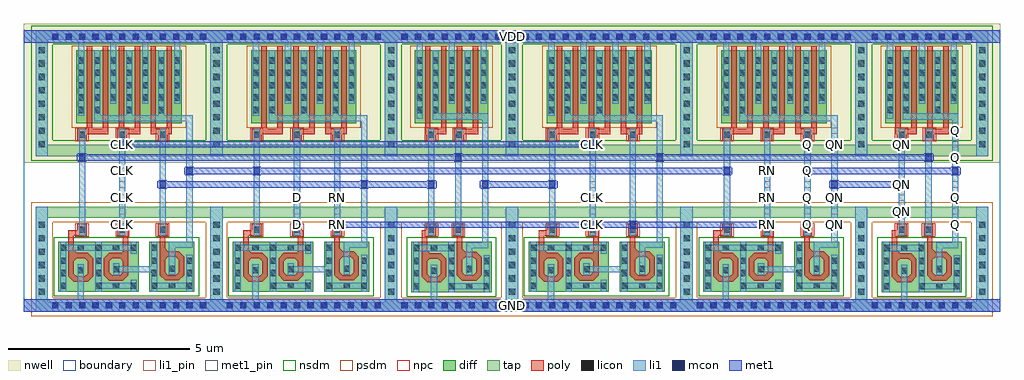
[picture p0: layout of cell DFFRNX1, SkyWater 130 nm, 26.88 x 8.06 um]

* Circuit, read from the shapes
.subckt DFFRNX1 CLK D GND Q QN RN VDD
XM1 n1 n2 GND GND sky130_fd_pr__nfet_01v8 w=2.6 l=0.1482
XM2 n1 CLK n3 GND sky130_fd_pr__nfet_01v8 w=2.52 l=0.1457
XM3 n3 n4 n5 GND sky130_fd_pr__nfet_01v8 w=2.56 l=0.1461
XM4 n6 n5 GND GND sky130_fd_pr__nfet_01v8 w=2.6 l=0.1484
XM5 n6 D n7 GND sky130_fd_pr__nfet_01v8 w=2.52 l=0.1458
XM6 n7 RN n4 GND sky130_fd_pr__nfet_01v8 w=2.56 l=0.1461
XM7 n8 n4 GND GND sky130_fd_pr__nfet_01v8 w=2.6 l=0.146
XM8 n8 n2 n9 GND sky130_fd_pr__nfet_01v8 w=2.56 l=0.1472
XM9 n10 n9 GND GND sky130_fd_pr__nfet_01v8 w=2.6 l=0.1489
XM10 n10 CLK n11 GND sky130_fd_pr__nfet_01v8 w=2.52 l=0.1458
XM11 n11 RN n2 GND sky130_fd_pr__nfet_01v8 w=2.56 l=0.1463
XM12 n12 n5 GND GND sky130_fd_pr__nfet_01v8 w=2.6 l=0.1489
XM13 n12 RN n13 GND sky130_fd_pr__nfet_01v8 w=2.52 l=0.1458
XM14 n13 Q QN GND sky130_fd_pr__nfet_01v8 w=2.56 l=0.1461
XM15 n14 QN GND GND sky130_fd_pr__nfet_01v8 w=2.6 l=0.146
XM16 n14 n2 Q GND sky130_fd_pr__nfet_01v8 w=2.56 l=0.1471
XM17 n5 n2 VDD VDD sky130_fd_pr__pfet_01v8 w=2 l=0.15 m=2
XM18 n5 CLK VDD VDD sky130_fd_pr__pfet_01v8 w=2 l=0.15 m=2
XM19 n5 n4 VDD VDD sky130_fd_pr__pfet_01v8 w=2 l=0.15 m=2
XM20 n4 n5 VDD VDD sky130_fd_pr__pfet_01v8 w=2 l=0.15 m=2
XM21 n4 D VDD VDD sky130_fd_pr__pfet_01v8 w=2 l=0.15 m=2
XM22 n4 RN VDD VDD sky130_fd_pr__pfet_01v8 w=2 l=0.15 m=2
XM23 n9 n4 VDD VDD sky130_fd_pr__pfet_01v8 w=2 l=0.15 m=2
XM24 n9 n2 VDD VDD sky130_fd_pr__pfet_01v8 w=2 l=0.15 m=2
XM25 n2 n9 VDD VDD sky130_fd_pr__pfet_01v8 w=2 l=0.15 m=2
XM26 n2 CLK VDD VDD sky130_fd_pr__pfet_01v8 w=2 l=0.15 m=2
XM27 n2 RN VDD VDD sky130_fd_pr__pfet_01v8 w=2 l=0.15 m=2
XM28 QN n5 VDD VDD sky130_fd_pr__pfet_01v8 w=2 l=0.15 m=2
XM29 QN RN VDD VDD sky130_fd_pr__pfet_01v8 w=2 l=0.15 m=2
XM30 QN Q VDD VDD sky130_fd_pr__pfet_01v8 w=2 l=0.15 m=2
XM31 Q QN VDD VDD sky130_fd_pr__pfet_01v8 w=2 l=0.15 m=2
XM32 Q n2 VDD VDD sky130_fd_pr__pfet_01v8 w=2 l=0.15 m=2
.ends

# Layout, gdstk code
from math import pi, radians
import gdstk
lib = gdstk.Library(unit=1e-6, precision=1e-09)
def R(c, l, rs):  # rectangles x0, y0, x1, y1
    for r in rs: c.add(gdstk.rectangle(r[:2], r[2:], *l))
def A(c, l, x, y, w, h, nx, ny, dx, dy):  # array of equal rectangles
    R(c, l, [(x+i*dx, y+j*dy, x+i*dx+w, y+j*dy+h) for i in range(nx) for j in range(ny)])
def P(c, l, *ps):  # polygons
    for p in ps: c.add(gdstk.Polygon(p, *l))
nwell = (64, 20)
diff = (65, 20)
tap = (65, 44)
poly = (66, 20)
licon = (66, 44)
li1_pin = (67, 16)
li1 = (67, 20)
mcon = (67, 44)
met1_pin = (68, 16)
met1 = (68, 20)
nsdm = (93, 44)
psdm = (94, 20)
npc = (95, 20)
boundary = (235, 4)

li1_m1_contact = lib.new_cell('li1_M1_contact')
R(li1_m1_contact, li1, [(-0.085,-0.165,0.085,0.165)])
R(li1_m1_contact, mcon, [(-0.085,-0.085,0.085,0.085)])
R(li1_m1_contact, met1, [(-0.115,-0.115,0.115,-0.085), (-0.265,-0.085,0.145,0.085), (-0.115,0.085,0.115,0.115)])

diff_ring_side = lib.new_cell('diff_ring_side')
R(diff_ring_side, nwell, [(-0.435,3.93,0.435,7.75)])
R(diff_ring_side, tap, [(-0.17,-0.17,0.17,2.72), (-0.17,4.11,0.17,7.57)])
A(diff_ring_side, licon, -0.085, 0.285, 0.17, 0.17, 1, 6, 0, 0.37)
A(diff_ring_side, licon, -0.085, 4.355, 0.17, 0.17, 1, 8, 0, 0.37)
R(diff_ring_side, li1, [(-0.17,-0.17,0.17,2.72), (-0.17,4.11,0.17,7.57)])
R(diff_ring_side, met1, [(-0.17,-0.17,0.17,0.17), (-0.17,7.23,0.17,7.57)])
R(diff_ring_side, nsdm, [(-0.295,3.985,0.295,7.695)])
R(diff_ring_side, psdm, [(-0.295,-0.295,0.295,2.845)])

nmos_bottom = lib.new_cell('nmos_bottom')
R(nmos_bottom, diff, [(0,0,1.24,1.38)])
R(nmos_bottom, poly, [(0.43,0.27,0.81,0.42), (0.28,0.42,0.43,0.925), (0.81,0.42,0.96,0.925), (0.43,0.925,0.96,1.075), (0.81,1.075,0.96,1.51)])
P(nmos_bottom, poly, [(0.73,1.075),(0.81,1.075),(0.81,1.155)],
  [(0.28,0.925),(0.43,0.925),(0.43,1.075)],
  [(0.43,0.845),(0.43,0.925),(0.51,0.925)],
  [(0.73,0.925),(0.81,0.925),(0.81,0.845)],
  [(0.43,0.5),(0.43,0.42),(0.51,0.42)],
  [(0.73,0.42),(0.81,0.42),(0.81,0.5)],
  [(0.28,0.42),(0.43,0.42),(0.43,0.27)],
  [(0.81,0.27),(0.81,0.42),(0.96,0.42)])
A(nmos_bottom, licon, 0.05, 1.13, 0.17, 0.17, 3, 1, 0.485, 0)
R(nmos_bottom, licon, [(0.05,0.08,0.22,0.25), (1.02,0.08,1.19,0.25), (0.05,0.43,0.22,0.6), (1.02,0.43,1.19,0.6), (0.535,0.505,0.705,0.675), (0.05,0.77,0.22,0.94), (1.02,0.77,1.19,0.94)])
R(nmos_bottom, li1, [(0.05,0,0.22,1.13), (1.02,0,1.19,1.13), (0.535,0.425,0.705,0.755), (0.05,1.13,1.19,1.3), (0.05,1.3,0.22,1.38), (1.02,1.3,1.19,1.38)])
R(nmos_bottom, nsdm, [(-0.125,-0.125,1.365,1.505)])

pmos2 = lib.new_cell('pmos2')
R(pmos2, nwell, [(0.26,-2.18,1.76,0.18)])
R(pmos2, diff, [(0.44,-2,1.58,0)])
R(pmos2, poly, [(0.72,-2.305,1.31,-2.155), (0.72,-2.155,0.87,0.13), (1.16,-2.155,1.31,0.13)])
A(pmos2, licon, 0.49, -1.38, 0.17, 0.17, 3, 4, 0.44, 0.34)
R(pmos2, li1, [(0.49,-1.465,0.66,0.21), (0.93,-1.465,1.1,0), (1.37,-1.465,1.54,0.21)])
R(pmos2, psdm, [(0.315,-2.125,1.705,0.125)])

poly_li1_contact = lib.new_cell('poly_li1_contact')
R(poly_li1_contact, poly, [(-0.16,-0.14,0.17,0.13)])
R(poly_li1_contact, licon, [(-0.08,-0.09,0.09,0.08)])
R(poly_li1_contact, li1, [(-0.16,-0.09,0.17,0.08)])
R(poly_li1_contact, npc, [(-0.18,-0.19,0.19,0.18)])

nmos_side_left = lib.new_cell('nmos_side_left')
R(nmos_side_left, diff, [(0,0,1.24,1.38)])
R(nmos_side_left, poly, [(0.435,0.305,0.81,0.455), (0.285,0.455,0.435,0.925), (0.81,0.455,0.96,0.925), (0.435,0.925,0.96,1.075), (0.81,1.075,0.96,1.51)])
P(nmos_side_left, poly, [(0.285,0.925),(0.435,0.925),(0.435,1.075)],
  [(0.435,0.845),(0.435,0.925),(0.515,0.925)],
  [(0.73,0.925),(0.81,0.925),(0.81,0.845)],
  [(0.435,0.535),(0.435,0.455),(0.515,0.455)],
  [(0.73,0.455),(0.81,0.455),(0.81,0.535)],
  [(0.285,0.455),(0.435,0.455),(0.435,0.305)],
  [(0.81,0.305),(0.81,0.455),(0.96,0.455)])
A(nmos_side_left, licon, 0.05, 0.08, 0.17, 0.17, 3, 2, 0.485, 1.05)
R(nmos_side_left, licon, [(0.05,0.43,0.22,0.6), (0.54,0.535,0.71,0.705), (0.05,0.77,0.22,0.94)])
R(nmos_side_left, li1, [(0.05,0,0.22,0.08), (1.02,0,1.19,0.08), (0.05,0.08,1.19,0.25), (0.05,0.25,0.22,1.13), (1.02,0.25,1.19,0.33), (0.54,0.455,0.71,0.785), (1.02,1.05,1.19,1.13), (0.05,1.13,1.19,1.3), (0.05,1.3,0.22,1.38), (1.02,1.3,1.19,1.38)])
R(nmos_side_left, nsdm, [(-0.125,-0.125,1.365,1.505)])

nmos_top_trim1 = lib.new_cell('nmos_top_trim1')
R(nmos_top_trim1, diff, [(0,0,1.24,1.38)])
R(nmos_top_trim1, poly, [(0.43,0.31,0.81,0.46), (0.28,0.46,0.43,0.965), (0.81,0.46,0.96,0.965), (0.43,0.965,0.96,1.115), (0.81,1.115,0.96,1.545)])
P(nmos_top_trim1, poly, [(0.73,1.115),(0.81,1.115),(0.81,1.195)],
  [(0.28,0.965),(0.43,0.965),(0.43,1.115)],
  [(0.43,0.885),(0.43,0.965),(0.51,0.965)],
  [(0.73,0.965),(0.81,0.965),(0.81,0.885)],
  [(0.43,0.54),(0.43,0.46),(0.51,0.46)],
  [(0.73,0.46),(0.81,0.46),(0.81,0.54)],
  [(0.28,0.46),(0.43,0.46),(0.43,0.31)],
  [(0.81,0.31),(0.81,0.46),(0.96,0.46)])
A(nmos_top_trim1, licon, 0.05, 0.08, 0.17, 0.17, 3, 1, 0.485, 0)
R(nmos_top_trim1, licon, [(0.05,0.43,0.22,0.6), (1.02,0.43,1.19,0.6), (0.535,0.55,0.705,0.72), (0.05,0.77,0.22,0.94), (1.02,0.77,1.19,0.94), (1.02,1.13,1.19,1.3)])
R(nmos_top_trim1, li1, [(0.05,0,0.22,0.08), (1.02,0,1.19,0.08), (0.05,0.08,1.19,0.25), (0.05,0.25,0.22,1.02), (1.02,0.25,1.19,1.38), (0.535,0.47,0.705,0.805)])
R(nmos_top_trim1, nsdm, [(-0.125,-0.125,1.365,1.505)])

nand3x1_pcell = lib.new_cell('nand3x1_pcell')
R(nand3x1_pcell, nwell, [(0.435,3.93,4.375,5.28), (0.435,5.28,1.1,5.295), (1.395,5.28,4.375,5.495), (0.435,5.295,1.025,5.465), (1.145,5.295,1.315,5.465), (0.435,5.465,1.1,5.495), (0.435,5.495,4.375,7.75)])
A(nand3x1_pcell, diff, 1.445, 5.295, 0.17, 0.17, 3, 1, 0.88, 0)
R(nand3x1_pcell, diff, [(1.005,5.295,1.175,5.465)])
R(nand3x1_pcell, tap, [(0.17,-0.17,4.64,0.085), (0.17,2.41,4.64,2.72), (0.17,4.11,4.64,4.42), (0.17,7.315,4.64,7.57)])
R(nand3x1_pcell, poly, [(0.735,1.885,0.885,1.915), (2.235,1.885,2.385,1.915), (0.735,1.915,0.975,2.065), (2.355,1.915,2.385,2.065)])
A(nand3x1_pcell, licon, 0.285, -0.085, 0.17, 0.17, 12, 2, 0.37, 7.4)
A(nand3x1_pcell, licon, 1.445, 5.295, 0.17, 0.17, 3, 1, 0.88, 0)
R(nand3x1_pcell, licon, [(1.005,5.295,1.175,5.465)])
A(nand3x1_pcell, li1, 1.445, 5.24, 0.17, 0.315, 3, 1, 0.88, 0)
R(nand3x1_pcell, li1, [(0.17,-0.17,4.64,0.17), (0.99,0.17,1.16,0.835), (1.965,0.91,3.015,1.08), (3.5,1.175,3.67,1.58), (3.5,1.58,4.155,1.75), (3.985,1.75,4.155,5.07), (1.025,2.165,1.195,4.54), (2.135,2.165,2.305,4.54), (3.245,2.245,3.415,4.7), (1.445,5.07,4.155,5.24), (1.005,5.215,1.175,5.58), (0.17,7.23,4.64,7.57)])
A(nand3x1_pcell, mcon, 0.285, -0.085, 0.17, 0.17, 12, 2, 0.37, 7.4)
R(nand3x1_pcell, met1, [(0.17,-0.17,4.64,0.17), (0.17,7.23,4.64,7.57)])
R(nand3x1_pcell, nsdm, [(2.79,0.25,2.84,1.88), (0.045,3.985,4.765,4.545), (0.045,7.19,4.765,7.695)])
R(nand3x1_pcell, psdm, [(0.045,-0.295,4.765,0.21), (0.045,2.285,4.765,2.845), (0.88,5.17,1.74,5.59), (2.2,5.17,2.62,5.59), (3.08,5.17,3.5,5.59)])
nand3x1_pcell.add(gdstk.Reference(diff_ring_side, (0,0)))
nand3x1_pcell.add(gdstk.Reference(nmos_bottom, (1.695,0.375), rotation=pi, x_reflection=True))
nand3x1_pcell.add(gdstk.Reference(pmos2, (0.515,7.02)))
nand3x1_pcell.add(gdstk.Reference(poly_li1_contact, (1.115,4.705), rotation=3*pi/2))
nand3x1_pcell.add(gdstk.Reference(poly_li1_contact, (1.105,2.075), rotation=pi/2))
nand3x1_pcell.add(gdstk.Reference(nmos_side_left, (1.425,0.375)))
nand3x1_pcell.add(gdstk.Reference(pmos2, (1.395,7.02)))
nand3x1_pcell.add(gdstk.Reference(pmos2, (2.275,7.02)))
nand3x1_pcell.add(gdstk.Reference(poly_li1_contact, (2.215,2.075), rotation=pi/2))
nand3x1_pcell.add(gdstk.Reference(poly_li1_contact, (2.215,4.695), rotation=pi/2))
nand3x1_pcell.add(gdstk.Reference(nmos_top_trim1, (4.205,0.375), rotation=pi, x_reflection=True))
nand3x1_pcell.add(gdstk.Reference(poly_li1_contact, (3.325,2.075), rotation=pi/2))
nand3x1_pcell.add(gdstk.Reference(poly_li1_contact, (3.335,4.705), rotation=3*pi/2))
nand3x1_pcell.add(gdstk.Reference(diff_ring_side, (4.81,0)))

nand2x1_pcell = lib.new_cell('nand2x1_pcell')
R(nand2x1_pcell, nwell, [(0.435,3.93,2.895,7.75)])
R(nand2x1_pcell, diff, [(0.705,5.295,0.875,5.465), (1.145,5.295,1.315,5.465), (2.025,5.295,2.195,5.465)])
R(nand2x1_pcell, tap, [(0.17,-0.17,3.16,-0.15), (0.155,-0.15,3.175,0.085), (0.155,2.4,0.17,2.41), (3.16,2.4,3.175,2.41), (0.155,2.41,3.175,2.71), (0.17,2.71,3.16,2.72), (0.17,4.11,3.16,4.42), (0.17,7.315,3.16,7.57)])
R(nand2x1_pcell, poly, [(0.84,1.875,0.99,2.065), (1.81,1.91,1.96,1.915)])
A(nand2x1_pcell, licon, 0.285, -0.085, 0.17, 0.17, 8, 2, 0.37, 7.4)
R(nand2x1_pcell, licon, [(0.705,5.295,0.875,5.465), (1.145,5.295,1.315,5.465), (2.025,5.295,2.195,5.465)])
R(nand2x1_pcell, li1, [(0.17,-0.17,3.16,-0.15), (0.155,-0.15,3.175,0.16), (0.17,0.16,3.16,0.17), (1.095,0.17,1.265,0.835), (2.065,1.165,2.235,1.57), (2.065,1.57,2.675,1.74), (2.505,1.74,2.675,5.115), (1.025,2.165,1.195,4.54), (1.765,2.165,1.785,2.205), (1.765,2.205,1.935,4.54), (1.765,4.54,1.805,4.71), (1.145,5.115,2.675,5.285), (0.705,5.135,0.875,5.555), (1.145,5.285,1.315,5.555), (2.025,5.285,2.195,5.555), (0.17,7.23,3.16,7.57)])
A(nand2x1_pcell, mcon, 0.285, -0.085, 0.17, 0.17, 8, 2, 0.37, 7.4)
R(nand2x1_pcell, met1, [(0.17,-0.17,3.16,-0.15), (0.155,-0.15,3.175,0.16), (0.17,0.16,3.16,0.17), (0.17,7.23,3.16,7.57)])
R(nand2x1_pcell, nsdm, [(0.045,3.985,3.285,4.545), (0.045,7.19,3.285,7.695)])
R(nand2x1_pcell, psdm, [(0.045,-0.295,3.285,-0.275), (0.03,-0.275,3.3,0.21), (0.03,2.275,0.295,2.285), (3.035,2.275,3.3,2.285), (0.03,2.285,3.3,2.835), (0.045,2.835,3.285,2.845), (0.58,5.17,1.44,5.59), (1.9,5.17,2.32,5.59)])
nand2x1_pcell.add(gdstk.Reference(diff_ring_side, (0,0)))
nand2x1_pcell.add(gdstk.Reference(nmos_bottom, (1.8,0.365), rotation=pi, x_reflection=True))
nand2x1_pcell.add(gdstk.Reference(pmos2, (0.215,7.02)))
nand2x1_pcell.add(gdstk.Reference(poly_li1_contact, (1.115,4.705), rotation=3*pi/2))
nand2x1_pcell.add(gdstk.Reference(poly_li1_contact, (1.115,2.085), rotation=3*pi/2))
nand2x1_pcell.add(gdstk.Reference(nmos_top_trim1, (2.77,0.365), rotation=pi, x_reflection=True))
nand2x1_pcell.add(gdstk.Reference(pmos2, (1.095,7.02)))
nand2x1_pcell.add(gdstk.Reference(poly_li1_contact, (1.845,2.075), rotation=pi/2))
nand2x1_pcell.add(gdstk.Reference(poly_li1_contact, (1.885,4.705), rotation=3*pi/2))
nand2x1_pcell.add(gdstk.Reference(diff_ring_side, (3.33,0)))

dffrnx1_pcell = lib.new_cell('dffrnx1_pcell')
R(dffrnx1_pcell, met1, [(8.035,2.135,19.815,2.305), (3.445,3.245,10.87,3.415), (12.305,3.245,13.925,3.415), (4.335,3.615,18.91,3.785), (1.205,3.985,24.505,4.155), (2.13,4.355,14.905,4.525)])
dffrnx1_pcell.add(gdstk.Reference(li1_m1_contact, (2.22,4.44), rotation=pi))
dffrnx1_pcell.add(gdstk.Reference(li1_m1_contact, (4.07,3.7), rotation=pi))
dffrnx1_pcell.add(gdstk.Reference(li1_m1_contact, (3.33,3.33), rotation=pi))
dffrnx1_pcell.add(gdstk.Reference(li1_m1_contact, (1.11,4.07), rotation=pi))
dffrnx1_pcell.add(gdstk.Reference(nand3x1_pcell, (0,0)))
dffrnx1_pcell.add(gdstk.Reference(nand3x1_pcell, (4.81,0)))
dffrnx1_pcell.add(gdstk.Reference(li1_m1_contact, (10.73,3.33)))
dffrnx1_pcell.add(gdstk.Reference(li1_m1_contact, (8.14,2.22), rotation=pi))
dffrnx1_pcell.add(gdstk.Reference(li1_m1_contact, (8.88,3.33), rotation=pi))
dffrnx1_pcell.add(gdstk.Reference(li1_m1_contact, (5.92,3.7), rotation=pi))
dffrnx1_pcell.add(gdstk.Reference(nand2x1_pcell, (9.62,0)))
dffrnx1_pcell.add(gdstk.Reference(li1_m1_contact, (15.17,4.44)))
dffrnx1_pcell.add(gdstk.Reference(li1_m1_contact, (11.47,4.07)))
dffrnx1_pcell.add(gdstk.Reference(li1_m1_contact, (16.28,2.22), rotation=pi))
dffrnx1_pcell.add(gdstk.Reference(li1_m1_contact, (12.21,3.33), rotation=pi))
dffrnx1_pcell.add(gdstk.Reference(li1_m1_contact, (14.06,3.33)))
dffrnx1_pcell.add(gdstk.Reference(nand3x1_pcell, (12.95,0)))
dffrnx1_pcell.add(gdstk.Reference(li1_m1_contact, (18.87,3.7)))
dffrnx1_pcell.add(gdstk.Reference(li1_m1_contact, (17.02,4.07)))
dffrnx1_pcell.add(gdstk.Reference(li1_m1_contact, (19.98,2.22)))
dffrnx1_pcell.add(gdstk.Reference(nand2x1_pcell, (22.57,0)))
dffrnx1_pcell.add(gdstk.Reference(nand3x1_pcell, (17.76,0)))
dffrnx1_pcell.add(gdstk.Reference(li1_m1_contact, (24.42,4.07)))

dffrnx1 = lib.new_cell('DFFRNX1')
R(dffrnx1, nwell, [(0,4.11,26.88,7.94)])
R(dffrnx1, tap, [(0.32,0,26.56,0.03), (0.32,7.75,26.56,7.76)])
A(dffrnx1, li1_pin, 2.625, 2.315, 0.17, 0.17, 1, 5, 0, 0.37)
A(dffrnx1, li1_pin, 7.435, 2.315, 0.17, 0.17, 1, 3, 0, 0.37)
A(dffrnx1, li1_pin, 8.545, 2.315, 0.17, 0.17, 1, 3, 0, 0.37)
A(dffrnx1, li1_pin, 15.575, 2.315, 0.17, 0.17, 1, 4, 0, 0.37)
A(dffrnx1, li1_pin, 20.385, 2.315, 0.17, 0.17, 1, 5, 0, 0.37)
A(dffrnx1, li1_pin, 21.495, 2.315, 0.17, 0.17, 1, 5, 0, 0.37)
A(dffrnx1, li1_pin, 22.235, 2.315, 0.17, 0.17, 1, 4, 0, 0.37)
A(dffrnx1, li1_pin, 25.565, 2.315, 0.17, 0.17, 1, 8, 0, 0.37)
A(dffrnx1, li1_pin, 24.085, 2.685, 0.17, 0.17, 1, 3, 0, 0.37)
R(dffrnx1, li1_pin, [(2.625,4.535,2.795,4.705), (15.575,4.535,15.745,4.705), (21.495,4.535,21.665,4.705), (22.235,4.535,22.405,4.705), (24.085,4.535,24.255,4.705), (22.235,4.905,22.405,5.075)])
A(dffrnx1, li1, 2.625, 2.315, 0.17, 0.17, 1, 5, 0, 0.37)
A(dffrnx1, li1, 7.435, 2.315, 0.17, 0.17, 1, 3, 0, 0.37)
A(dffrnx1, li1, 8.545, 2.315, 0.17, 0.17, 1, 3, 0, 0.37)
A(dffrnx1, li1, 15.575, 2.315, 0.17, 0.17, 1, 4, 0, 0.37)
A(dffrnx1, li1, 20.385, 2.315, 0.17, 0.17, 1, 5, 0, 0.37)
A(dffrnx1, li1, 21.495, 2.315, 0.17, 0.17, 1, 5, 0, 0.37)
A(dffrnx1, li1, 22.235, 2.315, 0.17, 0.17, 1, 4, 0, 0.37)
A(dffrnx1, li1, 25.565, 2.315, 0.17, 0.17, 1, 8, 0, 0.37)
A(dffrnx1, li1, 24.085, 2.685, 0.17, 0.17, 1, 3, 0, 0.37)
R(dffrnx1, li1, [(0,0,26.88,0.03), (0,0.03,0.32,0.35), (26.56,0.03,26.88,0.35), (2.625,4.535,2.795,4.705), (15.575,4.535,15.745,4.705), (21.495,4.535,21.665,4.705), (22.235,4.535,22.405,4.705), (24.085,4.535,24.255,4.705), (22.235,4.905,22.405,5.075), (0,7.41,0.32,7.75), (26.56,7.41,26.88,7.75), (0,7.75,26.88,7.76)])
R(dffrnx1, met1_pin, [(0,0,26.88,0.35), (0,7.41,26.88,7.76)])
R(dffrnx1, met1, [(0,0,26.88,0.35), (22.585,3.425,23.905,3.595), (21.845,3.795,25.385,3.965), (0,7.41,26.88,7.76)])
R(dffrnx1, nsdm, [(0.195,7.625,26.685,7.885)])
R(dffrnx1, psdm, [(0.195,-0.125,26.685,0.155)])
R(dffrnx1, boundary, [(0,0,26.88,7.76)])
dffrnx1.add(gdstk.Reference(li1_m1_contact, (25.65,3.88)))
dffrnx1.add(gdstk.Reference(li1_m1_contact, (22.32,3.51), rotation=pi))
dffrnx1.add(gdstk.Reference(li1_m1_contact, (24.17,3.51)))
dffrnx1.add(gdstk.Reference(li1_m1_contact, (21.58,3.88), rotation=pi))
dffrnx1.add(gdstk.Reference(dffrnx1_pcell, (0.49,0.18)))
dffrnx1.add(gdstk.Label('Q', (21.58,2.4), layer=67, texttype=5))
dffrnx1.add(gdstk.Label('Q', (21.58,2.77), layer=67, texttype=5))
dffrnx1.add(gdstk.Label('Q', (21.58,3.14), layer=67, texttype=5))
dffrnx1.add(gdstk.Label('Q', (21.58,3.51), layer=67, texttype=5))
dffrnx1.add(gdstk.Label('Q', (21.58,3.88), layer=67, texttype=5))
dffrnx1.add(gdstk.Label('Q', (21.58,4.62), layer=67, texttype=5))
dffrnx1.add(gdstk.Label('Q', (25.65,2.4), layer=67, texttype=5))
dffrnx1.add(gdstk.Label('Q', (25.65,2.77), layer=67, texttype=5))
dffrnx1.add(gdstk.Label('Q', (25.65,3.14), layer=67, texttype=5))
dffrnx1.add(gdstk.Label('Q', (25.65,3.51), layer=67, texttype=5))
dffrnx1.add(gdstk.Label('Q', (25.65,4.99), layer=67, texttype=5))
dffrnx1.add(gdstk.Label('Q', (25.65,4.62), layer=67, texttype=5))
dffrnx1.add(gdstk.Label('Q', (25.65,4.25), layer=67, texttype=5))
dffrnx1.add(gdstk.Label('Q', (25.65,3.88), layer=67, texttype=5))
dffrnx1.add(gdstk.Label('QN', (24.17,4.62), layer=67, texttype=5))
dffrnx1.add(gdstk.Label('QN', (24.17,2.77), layer=67, texttype=5))
dffrnx1.add(gdstk.Label('QN', (24.17,3.14), layer=67, texttype=5))
dffrnx1.add(gdstk.Label('QN', (24.17,3.51), layer=67, texttype=5))
dffrnx1.add(gdstk.Label('QN', (22.32,4.62), layer=67, texttype=5))
dffrnx1.add(gdstk.Label('QN', (22.32,4.99), layer=67, texttype=5))
dffrnx1.add(gdstk.Label('QN', (22.32,2.4), layer=67, texttype=5))
dffrnx1.add(gdstk.Label('QN', (22.32,2.77), layer=67, texttype=5))
dffrnx1.add(gdstk.Label('QN', (22.32,3.14), layer=67, texttype=5))
dffrnx1.add(gdstk.Label('QN', (22.32,3.51), layer=67, texttype=5))
dffrnx1.add(gdstk.Label('D', (7.52,2.4), layer=67, texttype=5))
dffrnx1.add(gdstk.Label('D', (7.52,2.77), layer=67, texttype=5))
dffrnx1.add(gdstk.Label('D', (7.52,3.14), layer=67, texttype=5))
dffrnx1.add(gdstk.Label('CLK', (15.66,4.62), layer=67, texttype=5))
dffrnx1.add(gdstk.Label('CLK', (15.66,2.4), layer=67, texttype=5))
dffrnx1.add(gdstk.Label('CLK', (15.66,2.77), layer=67, texttype=5))
dffrnx1.add(gdstk.Label('CLK', (15.66,3.14), layer=67, texttype=5))
dffrnx1.add(gdstk.Label('CLK', (15.66,3.51), layer=67, texttype=5))
dffrnx1.add(gdstk.Label('CLK', (2.71,2.4), layer=67, texttype=5))
dffrnx1.add(gdstk.Label('CLK', (2.71,2.77), layer=67, texttype=5))
dffrnx1.add(gdstk.Label('CLK', (2.71,3.14), layer=67, texttype=5))
dffrnx1.add(gdstk.Label('CLK', (2.71,3.51), layer=67, texttype=5))
dffrnx1.add(gdstk.Label('CLK', (2.71,3.88), layer=67, texttype=5))
dffrnx1.add(gdstk.Label('CLK', (2.71,4.62), layer=67, texttype=5))
dffrnx1.add(gdstk.Label('RN', (20.47,3.88), layer=67, texttype=5))
dffrnx1.add(gdstk.Label('RN', (20.47,3.51), layer=67, texttype=5))
dffrnx1.add(gdstk.Label('RN', (20.47,3.14), layer=67, texttype=5))
dffrnx1.add(gdstk.Label('RN', (20.47,2.77), layer=67, texttype=5))
dffrnx1.add(gdstk.Label('RN', (20.47,2.4), layer=67, texttype=5))
dffrnx1.add(gdstk.Label('RN', (8.63,3.14), layer=67, texttype=5))
dffrnx1.add(gdstk.Label('RN', (8.63,2.77), layer=67, texttype=5))
dffrnx1.add(gdstk.Label('RN', (8.63,2.4), layer=67, texttype=5))
dffrnx1.add(gdstk.Label('GND', (13.44,0.175), layer=68, texttype=5))
dffrnx1.add(gdstk.Label('VDD', (13.44,7.585), layer=68, texttype=5))

lib.write_gds('DFFRNX1.gds')
